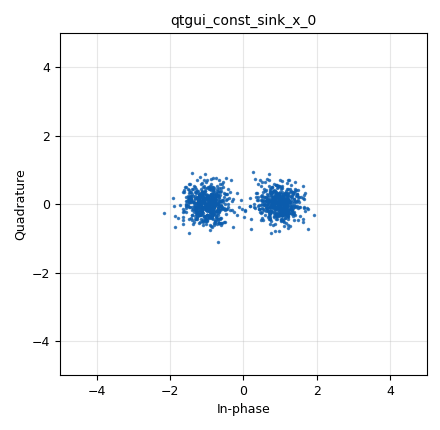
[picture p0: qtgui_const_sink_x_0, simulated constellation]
options:
  parameters:
    generate_options: qt_gui
    id: BPSK_BER_simulation
    output_language: python
  states: {}

blocks:
- name: BPSK_MAP
  id: variable
  parameters:
    value: '-1, 1'
  states: {}
- name: SNR
  id: variable_qtgui_range
  parameters:
    label: SNR (dB)
    start: '-15'
    step: '1'
    stop: '20'
    value: '10'
  states: {}
- name: modulation
  id: variable
  parameters:
    value: digital.constellation_bpsk().base()
  states: {}
- name: samp_rate
  id: variable
  parameters:
    value: 32e4
  states: {}
- name: GT_sink
  id: virtual_sink
  parameters:
    stream_id: GT
  states: {}
- name: GT_src
  id: virtual_source
  parameters:
    stream_id: GT
  states: {}
- name: Receiver_snk
  id: virtual_sink
  parameters:
    stream_id: Receiver
  states: {}
- name: Receiver_src
  id: virtual_source
  parameters:
    stream_id: Receiver
  states: {}
- name: Transmitter_Src
  id: virtual_source
  parameters:
    stream_id: Transmitter
  states: {}
- name: Transmitter_snk
  id: virtual_sink
  parameters:
    stream_id: Transmitter
  states: {}
- name: analog_noise_source_x_0
  id: analog_noise_source_x
  parameters:
    amp: math.sqrt(10**(-SNR/10)*2)
    noise_type: analog.GR_GAUSSIAN
    seed: '42'
    type: complex
  states: {}
- name: analog_random_source_x_0_0
  id: analog_random_source_x
  parameters:
    max: '2'
    min: '0'
    num_samps: '1000'
    repeat: 'True'
    type: byte
  states: {}
- name: blocks_add_xx_0
  id: blocks_add_xx
  parameters:
    type: complex
  states: {}
- name: blocks_throttle_0_0
  id: blocks_throttle
  parameters:
    samples_per_second: samp_rate
    type: complex
  states: {}
- name: digital_chunks_to_symbols_xx_0_0
  id: digital_chunks_to_symbols_xx
  parameters:
    dimension: '1'
    in_type: byte
    out_type: complex
    symbol_table: BPSK_MAP
  states: {}
- name: epy_block_0
  id: epy_block
  parameters:
    _source_code: |
      """
      Embedded Python Blocks:

      Each time this file is saved, GRC will instantiate the first class it finds
      to get ports and parameters of your block. The arguments to __init__  will
      be the parameters. All of them are required to have default values!
      """

      import numpy as np
      from gnuradio import gr

      class blk(gr.sync_block):
          def __init__(self, window_size=100000):
              gr.sync_block.__init__(
                  self,
                  name='BER for BPSK',
                  in_sig=[np.byte, np.byte],
                  out_sig=[np.float32]
              )
              self.window_size = int(window_size)
              self.window = np.zeros(self.window_size, dtype=np.float32)
              self.win_ptr = 0

          def work(self, input_items, output_items):
              ref = input_items[0].astype(np.int8)
              rx  = input_items[1].astype(np.int8)

              n = min(len(ref), len(rx))

              # For BPSK bits: error per symbol is XOR (0 or 1)
              errs = (ref[:n] ^ rx[:n]).astype(np.float32)

              # cyclic queue update
              for k in range(n):
                  self.window[self.win_ptr] = errs[k]
                  self.win_ptr = (self.win_ptr + 1) % self.window_size

              BER = float(np.sum(self.window)) / float(self.window_size)

              # output BER for every produced sample (simple + compatible with sinks)
              output_items[0][:n] = BER

              return len(output_items[0])
    comment: Block updated 2/14/2026
    window_size: 1e6
  states: {}
- name: epy_block_0_0
  id: epy_block
  parameters:
    _source_code: |
      """
      Embedded Python Blocks:

      Each time this file is saved, GRC will instantiate the first class it finds
      to get ports and parameters of your block. The arguments to __init__  will
      be the parameters. All of them are required to have default values!
      """
      import numpy as np
      from gnuradio import gr

      class blk(gr.sync_block):
          def __init__(self):
              gr.sync_block.__init__(
                  self,
                  name='BPSK Decoder',
                  in_sig=[np.complex64],
                  out_sig=[np.uint8]
              )

          def work(self, input_items, output_items):
              x = input_items[0]
              y = output_items[0]

              # If real>=0 -> symbol 1, else symbol 0
              y[:] = (np.real(x) >= 0).astype(np.uint8)

              return len(output_items[0])
    comment: Block updated 02/14/2026
  states: {}
- name: import_0
  id: import
  parameters:
    imports: import math
  states: {}
- name: qtgui_const_sink_x_0
  id: qtgui_const_sink_x
  parameters:
    size: '1024'
    type: complex
    xmax: '5'
    xmin: '-5'
    ymax: '5'
    ymin: '-5'
  states: {}
- name: qtgui_number_sink_0
  id: qtgui_number_sink
  parameters:
    graph_type: qtgui.NUM_GRAPH_HORIZ
    min: '-0.1'
    name: '"Bit Error Rate Lab Result"'
    type: float
  states: {}
- name: qtgui_number_sink_1
  id: qtgui_number_sink
  parameters:
    graph_type: qtgui.NUM_GRAPH_HORIZ
    min: '-0.1'
    name: '"Bit Error Rate Gnd Truth"'
    type: float
  states: {}
- name: rpi_iot_BER_bbf_0
  id: rpi_iot_BER_bbf
  parameters:
    bit_per_symbol: '1'
    comment: |-
      Use this ground-truth block to check
      the correctness of your code.
    window_size: '1000000'
  states: {}
- name: rpi_iot_BPSK_Decoder_cb_0
  id: rpi_iot_BPSK_Decoder_cb
  parameters:
    comment: |-
      Use this ground-truth block to check
      the correctness of your code.
  states: {}

connections:
- [GT_src, '0', epy_block_0, '1']
- [GT_src, '0', rpi_iot_BER_bbf_0, '1']
- [Receiver_src, '0', epy_block_0_0, '0']
- [Receiver_src, '0', rpi_iot_BPSK_Decoder_cb_0, '0']
- [Transmitter_Src, '0', blocks_add_xx_0, '0']
- [analog_noise_source_x_0, '0', blocks_add_xx_0, '1']
- [analog_random_source_x_0_0, '0', GT_sink, '0']
- [analog_random_source_x_0_0, '0', digital_chunks_to_symbols_xx_0_0, '0']
- [blocks_add_xx_0, '0', Receiver_snk, '0']
- [blocks_add_xx_0, '0', qtgui_const_sink_x_0, '0']
- [blocks_throttle_0_0, '0', Transmitter_snk, '0']
- [digital_chunks_to_symbols_xx_0_0, '0', blocks_throttle_0_0, '0']
- [epy_block_0, '0', qtgui_number_sink_0, '0']
- [epy_block_0_0, '0', epy_block_0, '0']
- [rpi_iot_BER_bbf_0, '0', qtgui_number_sink_1, '0']
- [rpi_iot_BPSK_Decoder_cb_0, '0', rpi_iot_BER_bbf_0, '0']

metadata:
  file_format: 1
